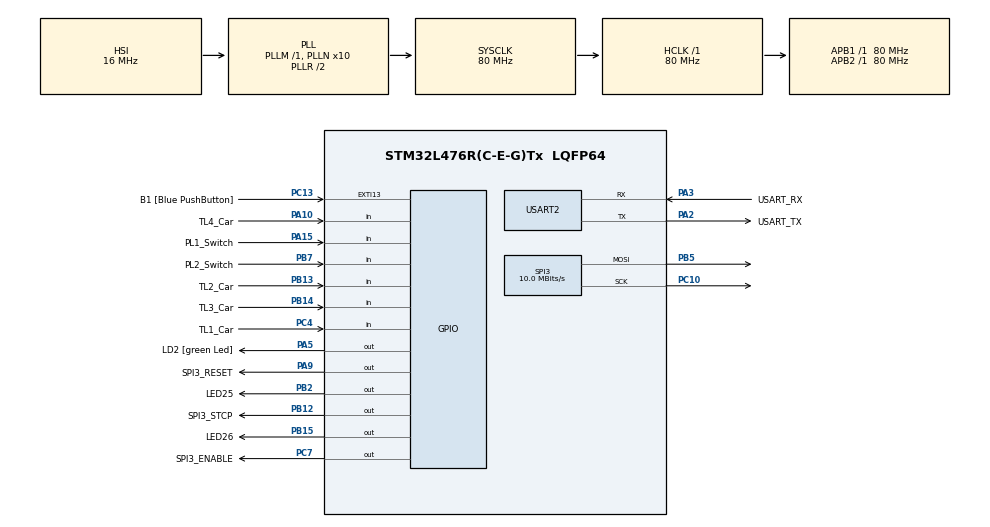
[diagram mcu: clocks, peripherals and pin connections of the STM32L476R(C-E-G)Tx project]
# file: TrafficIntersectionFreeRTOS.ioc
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FREERTOS.Tasks01=defaultTask,24,128,StartDefaultTask,Default,NULL,Dynamic,NULL,NULL;pedestrianTask,8,128,pedestrianLogicTask,Default,NULL,Dynamic,NULL,NULL;carTask,8,128,carLogicTask,Default,NULL,Dynamic,NULL,NULL
Mcu.Family=STM32L4
Mcu.Name=STM32L476R(C-E-G)Tx
Mcu.Package=LQFP64
NVIC.PriorityGroup=NVIC_PRIORITYGROUP_4
NVIC.TIM1_UP_TIM16_IRQn=true\:15\:0\:false\:false\:true\:false\:false\:true\:true
NVIC.TimeBase=TIM1_UP_TIM16_IRQn
NVIC.TimeBaseIP=TIM1
PA10.GPIO_Label=TL4_Car
PA10.GPIO_PuPd=GPIO_PULLUP
PA10.Signal=GPIO_Input
PA13\ (JTMS-SWDIO).GPIO_Label=TMS
PA13\ (JTMS-SWDIO).Mode=Serial_Wire
PA13\ (JTMS-SWDIO).Signal=SYS_JTMS-SWDIO
PA14\ (JTCK-SWCLK).GPIO_Label=TCK
PA14\ (JTCK-SWCLK).Mode=Serial_Wire
PA14\ (JTCK-SWCLK).Signal=SYS_JTCK-SWCLK
PA15\ (JTDI).GPIO_Label=PL1_Switch
PA15\ (JTDI).GPIO_PuPd=GPIO_PULLUP
PA15\ (JTDI).Signal=GPIO_Input
PA2.GPIO_Label=USART_TX
PA2.GPIO_Mode=GPIO_MODE_AF_PP
PA2.GPIO_PuPd=GPIO_NOPULL
PA2.GPIO_Speed=GPIO_SPEED_FREQ_VERY_HIGH
PA2.Mode=Asynchronous
PA2.Signal=USART2_TX
PA3.GPIO_Label=USART_RX
PA3.GPIO_Mode=GPIO_MODE_AF_PP
PA3.GPIO_PuPd=GPIO_NOPULL
PA3.GPIO_Speed=GPIO_SPEED_FREQ_VERY_HIGH
PA3.Mode=Asynchronous
PA3.Signal=USART2_RX
PA5.GPIO_Label=LD2 [green Led]
PA5.GPIO_ModeDefaultOutputPP=GPIO_MODE_OUTPUT_PP
PA5.GPIO_PuPd=GPIO_NOPULL
PA5.GPIO_Speed=GPIO_SPEED_FREQ_LOW
PA5.Signal=GPIO_Output
PA9.GPIO_Label=SPI3_RESET
PA9.Signal=GPIO_Output
PB12.GPIO_Label=SPI3_STCP
PB12.Signal=GPIO_Output
PB13.GPIO_Label=TL2_Car
PB13.GPIO_PuPd=GPIO_PULLUP
PB13.Signal=GPIO_Input
PB14.GPIO_Label=TL3_Car
PB14.GPIO_PuPd=GPIO_PULLUP
PB14.Signal=GPIO_Input
PB15.GPIO_Label=LED26
PB15.Signal=GPIO_Output
PB2.GPIO_Label=LED25
PB2.Signal=GPIO_Output
PB3\ (JTDO-TRACESWO).GPIO_Label=SWO
PB3\ (JTDO-TRACESWO).Signal=SYS_JTDO-SWO
PB5.Mode=TX_Only_Simplex_Unidirect_Master
PB5.Signal=SPI3_MOSI
PB7.GPIO_Label=PL2_Switch
PB7.GPIO_PuPd=GPIO_PULLUP
PB7.Signal=GPIO_Input
PC10.Mode=TX_Only_Simplex_Unidirect_Master
PC10.Signal=SPI3_SCK
PC13.GPIO_Label=B1 [Blue PushButton]
PC13.GPIO_ModeDefaultEXTI=GPIO_MODE_IT_FALLING
PC13.GPIO_PuPd=GPIO_NOPULL
PC13.Signal=GPXTI13
PC14-OSC32_IN\ (PC14).Mode=LSE-External-Oscillator
PC14-OSC32_IN\ (PC14).Signal=RCC_OSC32_IN
PC15-OSC32_OUT\ (PC15).Mode=LSE-External-Oscillator
PC15-OSC32_OUT\ (PC15).Signal=RCC_OSC32_OUT
PC4.GPIO_Label=TL1_Car
PC4.GPIO_PuPd=GPIO_PULLUP
PC4.Signal=GPIO_Input
PC7.GPIO_Label=SPI3_ENABLE
PC7.Signal=GPIO_Output
PH0-OSC_IN\ (PH0).Signal=RCC_OSC_IN
PH1-OSC_OUT\ (PH1).Signal=RCC_OSC_OUT
ProjectManager.HeapSize=0x200
ProjectManager.StackSize=0x400
ProjectManager.TargetToolchain=STM32CubeIDE
RCC.ADCFreq_Value=64000000
RCC.AHBFreq_Value=80000000
RCC.APB1Freq_Value=80000000
RCC.APB1TimFreq_Value=80000000
RCC.APB2Freq_Value=80000000
RCC.APB2TimFreq_Value=80000000
RCC.CortexFreq_Value=80000000
RCC.HCLKFreq_Value=80000000
RCC.HSE_VALUE=8000000
RCC.HSI_VALUE=16000000
RCC.MSI_VALUE=4000000
RCC.PLLN=10
RCC.PLLSourceVirtual=RCC_PLLSOURCE_HSI
RCC.PREFETCH_ENABLE=1
RCC.SYSCLKFreq_VALUE=80000000
RCC.SYSCLKSource=RCC_SYSCLKSOURCE_PLLCLK
RCC.USBFreq_Value=64000000
RCC.VCOOutputFreq_Value=160000000
SPI3.BaudRatePrescaler=SPI_BAUDRATEPRESCALER_8
SPI3.CalculateBaudRate=10.0 MBits/s
SPI3.DataSize=SPI_DATASIZE_8BIT
SPI3.Direction=SPI_DIRECTION_2LINES
SPI3.Mode=SPI_MODE_MASTER
SPI3.VirtualType=VM_MASTER
USART2.VirtualMode-Asynchronous=VM_ASYNC
VP_FREERTOS_VS_CMSIS_V2.Mode=CMSIS_V2
VP_SYS_VS_tim1.Mode=TIM1
board=NUCLEO-L476RG

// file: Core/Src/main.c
/* USER CODE BEGIN Header */
/**
  ******************************************************************************
  * @file           : main.c
  * @brief          : Main program body
  ******************************************************************************
  * @attention
  *
  * Copyright (c) 2025 STMicroelectronics.
  * All rights reserved.
  *
  * This software is licensed under terms that can be found in the LICENSE file
  * in the root directory of this software component.
  * If no LICENSE file comes with this software, it is provided AS-IS.
  *
  ******************************************************************************
  */
/* USER CODE END Header */
#include "main.h"
#include "cmsis_os.h"
#include "spi.h"
#include "usart.h"
#include "gpio.h"

void SystemClock_Config(void);
void MX_FREERTOS_Init(void);

int main(void)
{

  /* MCU Configuration--------------------------------------------------------*/

  /* Reset of all peripherals, Initializes the Flash interface and the Systick. */
  HAL_Init();

  /* Configure the system clock */
  SystemClock_Config();

  /* Initialize all configured peripherals */
  MX_GPIO_Init();
  MX_USART2_UART_Init();
  MX_SPI3_Init();

  /* Init scheduler */
  osKernelInitialize();

  /* Call init function for freertos objects (in cmsis_os2.c) */
  MX_FREERTOS_Init();

  /* Start scheduler */
  osKernelStart();

  /* We should never get here as control is now taken by the scheduler */

  /* Infinite loop */
  while (1)
  {

  }
}

void SystemClock_Config(void)
{
  RCC_OscInitTypeDef RCC_OscInitStruct = {0};
  RCC_ClkInitTypeDef RCC_ClkInitStruct = {0};

  /** Configure the main internal regulator output voltage
  */
  if (HAL_PWREx_ControlVoltageScaling(PWR_REGULATOR_VOLTAGE_SCALE1) != HAL_OK)
  {
    Error_Handler();
  }

  /** Initializes the RCC Oscillators according to the specified parameters
  * in the RCC_OscInitTypeDef structure.
  */
  RCC_OscInitStruct.OscillatorType = RCC_OSCILLATORTYPE_HSI;
  RCC_OscInitStruct.HSIState = RCC_HSI_ON;
  RCC_OscInitStruct.HSICalibrationValue = RCC_HSICALIBRATION_DEFAULT;
  RCC_OscInitStruct.PLL.PLLState = RCC_PLL_ON;
  RCC_OscInitStruct.PLL.PLLSource = RCC_PLLSOURCE_HSI;
  RCC_OscInitStruct.PLL.PLLM = 1;
  RCC_OscInitStruct.PLL.PLLN = 10;
  RCC_OscInitStruct.PLL.PLLP = RCC_PLLP_DIV7;
  RCC_OscInitStruct.PLL.PLLQ = RCC_PLLQ_DIV2;
  RCC_OscInitStruct.PLL.PLLR = RCC_PLLR_DIV2;
  if (HAL_RCC_OscConfig(&RCC_OscInitStruct) != HAL_OK)
  {
    Error_Handler();
  }

  /** Initializes the CPU, AHB and APB buses clocks
  */
  RCC_ClkInitStruct.ClockType = RCC_CLOCKTYPE_HCLK|RCC_CLOCKTYPE_SYSCLK
                              |RCC_CLOCKTYPE_PCLK1|RCC_CLOCKTYPE_PCLK2;
  RCC_ClkInitStruct.SYSCLKSource = RCC_SYSCLKSOURCE_PLLCLK;
  RCC_ClkInitStruct.AHBCLKDivider = RCC_SYSCLK_DIV1;
  RCC_ClkInitStruct.APB1CLKDivider = RCC_HCLK_DIV1;
  RCC_ClkInitStruct.APB2CLKDivider = RCC_HCLK_DIV1;

  if (HAL_RCC_ClockConfig(&RCC_ClkInitStruct, FLASH_LATENCY_4) != HAL_OK)
  {
    Error_Handler();
  }
}

void HAL_TIM_PeriodElapsedCallback(TIM_HandleTypeDef *htim)
{
  if (htim->Instance == TIM1) {
    HAL_IncTick();
  }
}

void Error_Handler(void)
{
  __disable_irq();
  while (1)
  {
  }
}

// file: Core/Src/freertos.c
/* USER CODE BEGIN Header */
	/**
		******************************************************************************
		* File Name          : freertos.c
		* Description        : Code for freertos applications
		******************************************************************************
		* @attention
		*
		* Copyright (c) 2025 STMicroelectronics.
		* All rights reserved.
		*
		* This software is licensed under terms that can be found in the LICENSE file
		* in the root directory of this software component.
		* If no LICENSE file comes with this software, it is provided AS-IS.
		*
		******************************************************************************
		*/
/* USER CODE END Header */

#include "FreeRTOS.h"
#include "task.h"
#include "main.h"
#include "cmsis_os.h"
#include "gpio.h"
#include "trafficTypes.h"
#include "spiCommunication.h"
#include "intersection.h"
#include "../Inc/Logic/pedestrianLogic.h"
#include "../Inc/Logic/carLogic.h"

/* USER CODE BEGIN Variables */
osMutexId_t pedestrianMutex;
osMutexId_t carSignalMutex;
osMutexId_t intersectionMutex;
IntersectionController intersection;
/* USER CODE END Variables */
/* Definitions for defaultTask */
osThreadId_t defaultTaskHandle;
const osThreadAttr_t defaultTask_attributes = {
	.name = "defaultTask",
	.stack_size = 128 * 4,
	.priority = (osPriority_t) osPriorityNormal,
};
/* Definitions for pedestrianTask */
osThreadId_t pedestrianTaskHandle;
const osThreadAttr_t pedestrianTask_attributes = {
	.name = "pedestrianTask",
	.stack_size = 128 * 4,
	.priority = (osPriority_t) osPriorityLow,
};
/* Definitions for carTask */
osThreadId_t carTaskHandle;
const osThreadAttr_t carTask_attributes = {
	.name = "carTask",
	.stack_size = 128 * 4,
	.priority = (osPriority_t) osPriorityLow,
};

void StartDefaultTask(void *argument);
void pedestrianLogicTask(void *argument);
void carLogicTask(void *argument);

void MX_FREERTOS_Init(void); /* (MISRA C 2004 rule 8.1) */

void MX_FREERTOS_Init(void) {
	/* USER CODE BEGIN Init */
		initializeRegisters();
		initIntersectionState(&intersection);
	/* USER CODE END Init */

	/* USER CODE BEGIN RTOS_MUTEX */
	intersectionMutex = osMutexNew(NULL);
	/* USER CODE END RTOS_MUTEX */

	/* Create the thread(s) */
	/* creation of defaultTask */
	defaultTaskHandle = osThreadNew(StartDefaultTask, NULL, &defaultTask_attributes);

	/* creation of pedestrianTask */
	pedestrianTaskHandle = osThreadNew(pedestrianLogicTask, NULL, &pedestrianTask_attributes);

	/* creation of carTask */
	carTaskHandle = osThreadNew(carLogicTask, NULL, &carTask_attributes);

}

void StartDefaultTask(void *argument)
{
	/* USER CODE BEGIN StartDefaultTask */
	/* Infinite loop */
	for(;;)
	{
	HAL_GPIO_TogglePin(GPIOB, LED26_Pin);
	osDelay(100);
	}
	/* USER CODE END StartDefaultTask */
}

void pedestrianLogicTask(void *argument)
{
	/* USER CODE BEGIN pedestrianLogicTask */
	/* Infinite loop */
	for(;;)
	{
		osMutexAcquire(intersectionMutex, osWaitForever);
		pedestrianLogic(&intersection.pedestrianStateVertical,
			&intersection.pedestrianStateHorizontal,
			&intersection.carSignalState.currentState);
		osMutexRelease(intersectionMutex);
		osDelay(10);
	}
	/* USER CODE END pedestrianLogicTask */
}

void carLogicTask(void *argument)
{
	/* USER CODE BEGIN carLogicTask */
	/* Infinite loop */
	for(;;)
	{
		osMutexAcquire(intersectionMutex, osWaitForever);
		taskCarSignalLogic(&intersection.carSignalState, intersection.pedestrianStateVertical.currentState, intersection.pedestrianStateHorizontal.currentState);
		osMutexRelease(intersectionMutex);
		osDelay(10);
	}
	/* USER CODE END carLogicTask */
}
